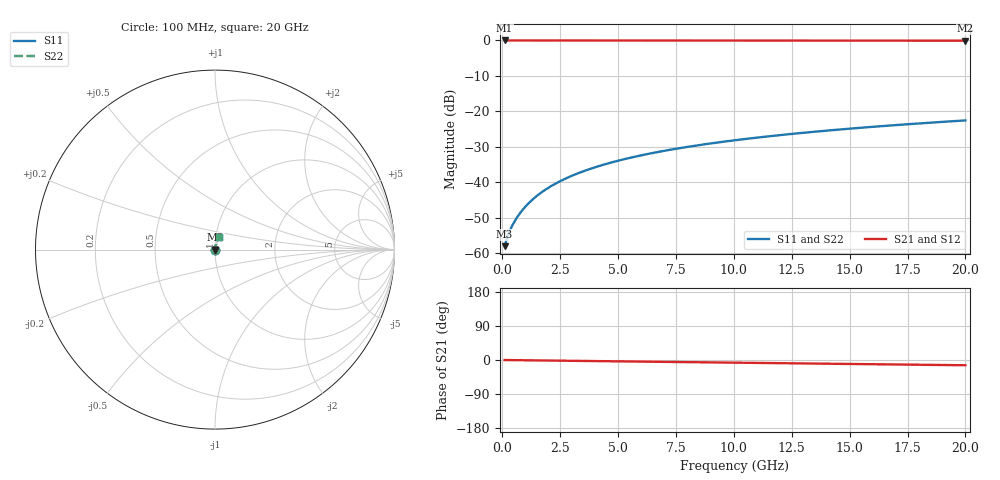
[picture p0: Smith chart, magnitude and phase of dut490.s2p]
! Touchstone file exported from HFSS 2026.1.0
!  File:  C:/ffzhzh/LocalFiles/Ansys_Project_Files/temp_train_TMRDL_490_1783006549_55676.aedt
!  Generated:  11:37:05 PM Jul  2, 2026
!  Design:  TMRDL
!  Project:  temp_train_TMRDL_490_1783006549_55676
! Variables:
!  h_bsmrdl = 2um
!  h_ox = 20um
!  h_rdl = 5um
!  h_sub = 80um
!  h_tmrdl = 3.13um
!  h_tsv = 80um
!  h_via = 3um
!  l_bsmrdl = 300um
!  l_sub = 609.46um
!  l_tmrdl = 209.46um
!  m_sub = 200um
!  pitch = 39.64um
!  r_tsv = 6um
!  s_tmrdl = 10um
!  w_bsmrdl = 18um
!  w_sub = 500um
!  w_tmrdl = 29.18um
!  x_tsv_center1 = 224.05um
!  x_tsv_center2 = 542.05um
!  x_tsv_center3 = 780.69um
!  x_tsv_center4 = 1098.69um
!  x_tsv_center5 = 1337.33um
!  x_tsv_center6 = 1655.33um
# GHz S MA R 50.000000
! Terminal data exported
! Port[1] = TM_RDL1_1_T1
! Port[2] = TM_RDL1_1_T2
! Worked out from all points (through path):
!   200 points, 100 MHz to 20 GHz, reference 50 ohm
!   highest |S21| = -0.01 dB at 100 MHz (marker M1); lowest = -0.1 dB at 20 GHz (marker M2)
!   group delay of S21, straight-line fit = 1.92 ps
!   lowest |S11| = -58.1 dB at 100 MHz (marker M3), VSWR 1.00, Z = 50.1 + j0.0546 ohm
!   |S11| at or under -10 dB: start of sweep to end of sweep
!   |S22| runs from -58.1 to -22.6 dB; largest |S21 - S12| = 2.7e-15
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0.1  0.001247 25.9  0.9989 -0.1  0.9989 -0.1  0.001247 25.9
! Gamma 0 0 0 0
! Port Impedance 50 0 50 0
0.2  0.001595 40.3  0.9988 -0.2  0.9988 -0.2  0.001595 40.3
0.3  0.001967 48.2  0.9987 -0.2  0.9987 -0.2  0.001966 48.2
0.4  0.002329 53.4  0.9986 -0.3  0.9986 -0.3  0.002328 53.4
0.5  0.002686 57.4  0.9985 -0.4  0.9985 -0.4  0.002686 57.4
0.6  0.003044 60.6  0.9985 -0.4  0.9985 -0.4  0.003044 60.6
0.8  0.003773 65.4  0.9984 -0.6  0.9984 -0.6  0.003773 65.4
1  0.004517 68.8  0.9984 -0.7  0.9984 -0.7  0.004517 68.8
1.2  0.005273 71.2  0.9983 -0.9  0.9983 -0.9  0.005273 71.2
1.7  0.007195 75.1  0.9983 -1.2  0.9983 -1.2  0.007195 75.1
2.2  0.00914 77.2  0.9982 -1.6  0.9982 -1.6  0.00914 77.2
2.8  0.01149 78.6  0.9981 -2.0  0.9981 -2.0  0.01149 78.6
3.5  0.01422 79.4  0.9979 -2.5  0.9979 -2.5  0.01422 79.4
4.2  0.01695 79.7  0.9977 -3.0  0.9977 -3.0  0.01695 79.7
5  0.02005 79.8  0.9975 -3.5  0.9975 -3.5  0.02005 79.8
5.9  0.0235 79.6  0.9972 -4.2  0.9972 -4.2  0.0235 79.6
6.8  0.02692 79.3  0.9969 -4.8  0.9969 -4.8  0.02692 79.3
8.3  0.03255 78.6  0.9963 -5.8  0.9963 -5.8  0.03255 78.7
10.1  0.0392 77.7  0.9957 -7.1  0.9957 -7.1  0.0392 77.7
13.4  0.05113 75.9  0.9945 -9.4  0.9945 -9.4  0.05113 75.9
16.7  0.06281 74.0  0.9932 -11.6  0.9932 -11.6  0.06281 74.0
20  0.07428 72.0  0.9919 -13.9  0.9919 -13.9  0.07428 72.0
